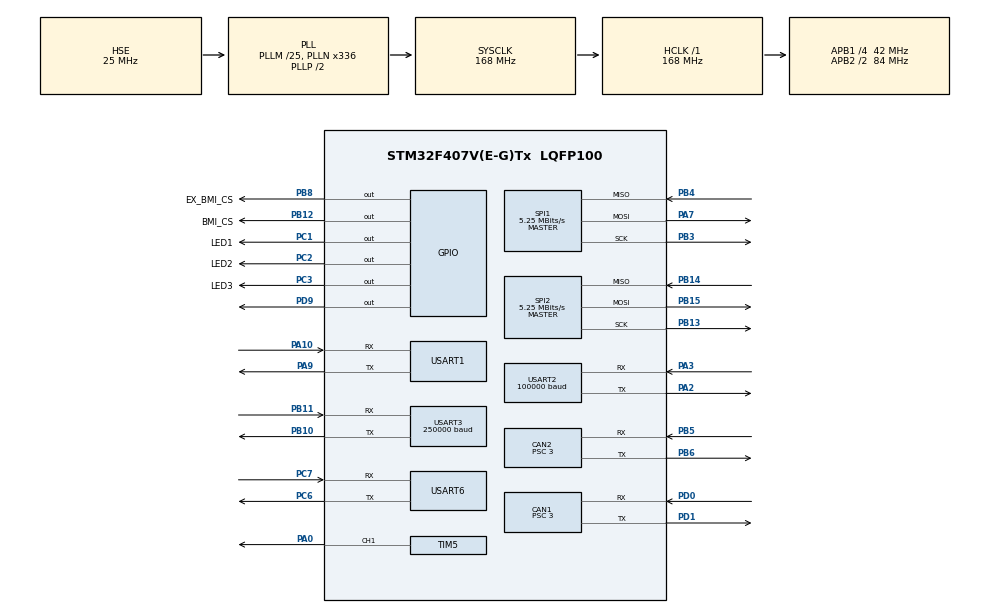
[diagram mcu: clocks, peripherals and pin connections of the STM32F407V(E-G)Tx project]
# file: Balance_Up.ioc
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CAN1.ABOM=ENABLE
CAN1.AWUM=ENABLE
CAN1.BS1=CAN_BS1_9TQ
CAN1.BS2=CAN_BS2_4TQ
CAN1.CalculateBaudRate=1000000
CAN1.CalculateTimeBit=1000
CAN1.CalculateTimeQuantum=71.42857142857143
CAN1.Prescaler=3
CAN1.TTCM=DISABLE
CAN1.TXFP=ENABLE
CAN2.ABOM=ENABLE
CAN2.AWUM=ENABLE
CAN2.BS1=CAN_BS1_9TQ
CAN2.BS2=CAN_BS2_4TQ
CAN2.CalculateBaudRate=1000000
CAN2.CalculateTimeBit=1000
CAN2.CalculateTimeQuantum=71.42857142857143
CAN2.Prescaler=3
CAN2.TXFP=ENABLE
Dma.Request0=USART1_RX
Dma.Request1=USART1_TX
Dma.Request2=USART2_RX
Dma.Request3=USART3_RX
Dma.Request4=USART3_TX
Dma.Request5=USART6_RX
Dma.Request6=USART6_TX
Dma.USART1_RX.0.Direction=DMA_PERIPH_TO_MEMORY
Dma.USART1_RX.0.FIFOMode=DMA_FIFOMODE_DISABLE
Dma.USART1_RX.0.Instance=DMA2_Stream2
Dma.USART1_RX.0.MemDataAlignment=DMA_MDATAALIGN_BYTE
Dma.USART1_RX.0.MemInc=DMA_MINC_ENABLE
Dma.USART1_RX.0.Mode=DMA_CIRCULAR
Dma.USART1_RX.0.PeriphDataAlignment=DMA_PDATAALIGN_BYTE
Dma.USART1_RX.0.PeriphInc=DMA_PINC_DISABLE
Dma.USART1_RX.0.Priority=DMA_PRIORITY_LOW
Dma.USART1_TX.1.Direction=DMA_MEMORY_TO_PERIPH
Dma.USART1_TX.1.FIFOMode=DMA_FIFOMODE_DISABLE
Dma.USART1_TX.1.Instance=DMA2_Stream7
Dma.USART1_TX.1.MemDataAlignment=DMA_MDATAALIGN_BYTE
Dma.USART1_TX.1.MemInc=DMA_MINC_ENABLE
Dma.USART1_TX.1.Mode=DMA_NORMAL
Dma.USART1_TX.1.PeriphDataAlignment=DMA_PDATAALIGN_BYTE
Dma.USART1_TX.1.PeriphInc=DMA_PINC_DISABLE
Dma.USART1_TX.1.Priority=DMA_PRIORITY_LOW
Dma.USART2_RX.2.Direction=DMA_PERIPH_TO_MEMORY
Dma.USART2_RX.2.FIFOMode=DMA_FIFOMODE_DISABLE
Dma.USART2_RX.2.Instance=DMA1_Stream5
Dma.USART2_RX.2.MemDataAlignment=DMA_MDATAALIGN_BYTE
Dma.USART2_RX.2.MemInc=DMA_MINC_ENABLE
Dma.USART2_RX.2.Mode=DMA_CIRCULAR
Dma.USART2_RX.2.PeriphDataAlignment=DMA_PDATAALIGN_BYTE
Dma.USART2_RX.2.PeriphInc=DMA_PINC_DISABLE
Dma.USART2_RX.2.Priority=DMA_PRIORITY_LOW
Dma.USART3_RX.3.Direction=DMA_PERIPH_TO_MEMORY
Dma.USART3_RX.3.FIFOMode=DMA_FIFOMODE_DISABLE
Dma.USART3_RX.3.Instance=DMA1_Stream1
Dma.USART3_RX.3.MemDataAlignment=DMA_MDATAALIGN_BYTE
Dma.USART3_RX.3.MemInc=DMA_MINC_ENABLE
Dma.USART3_RX.3.Mode=DMA_CIRCULAR
Dma.USART3_RX.3.PeriphDataAlignment=DMA_PDATAALIGN_BYTE
Dma.USART3_RX.3.PeriphInc=DMA_PINC_DISABLE
Dma.USART3_RX.3.Priority=DMA_PRIORITY_LOW
Dma.USART3_TX.4.Direction=DMA_MEMORY_TO_PERIPH
Dma.USART3_TX.4.FIFOMode=DMA_FIFOMODE_DISABLE
Dma.USART3_TX.4.Instance=DMA1_Stream3
Dma.USART3_TX.4.MemDataAlignment=DMA_MDATAALIGN_BYTE
Dma.USART3_TX.4.MemInc=DMA_MINC_ENABLE
Dma.USART3_TX.4.Mode=DMA_NORMAL
Dma.USART3_TX.4.PeriphDataAlignment=DMA_PDATAALIGN_BYTE
Dma.USART3_TX.4.PeriphInc=DMA_PINC_DISABLE
Dma.USART3_TX.4.Priority=DMA_PRIORITY_LOW
Dma.USART6_RX.5.Direction=DMA_PERIPH_TO_MEMORY
Dma.USART6_RX.5.FIFOMode=DMA_FIFOMODE_DISABLE
Dma.USART6_RX.5.Instance=DMA2_Stream1
Dma.USART6_RX.5.MemDataAlignment=DMA_MDATAALIGN_BYTE
Dma.USART6_RX.5.MemInc=DMA_MINC_ENABLE
Dma.USART6_RX.5.Mode=DMA_CIRCULAR
Dma.USART6_RX.5.PeriphDataAlignment=DMA_PDATAALIGN_BYTE
Dma.USART6_RX.5.PeriphInc=DMA_PINC_DISABLE
Dma.USART6_RX.5.Priority=DMA_PRIORITY_LOW
Dma.USART6_TX.6.Direction=DMA_MEMORY_TO_PERIPH
Dma.USART6_TX.6.FIFOMode=DMA_FIFOMODE_DISABLE
Dma.USART6_TX.6.Instance=DMA2_Stream6
Dma.USART6_TX.6.MemDataAlignment=DMA_MDATAALIGN_BYTE
Dma.USART6_TX.6.MemInc=DMA_MINC_ENABLE
Dma.USART6_TX.6.Mode=DMA_CIRCULAR
Dma.USART6_TX.6.PeriphDataAlignment=DMA_PDATAALIGN_BYTE
Dma.USART6_TX.6.PeriphInc=DMA_PINC_DISABLE
Dma.USART6_TX.6.Priority=DMA_PRIORITY_LOW
FREERTOS.Tasks01=defaultTask,0,128,StartDefaultTask,Default,NULL,Dynamic,NULL,NULL;heartbeatTask,1,128,StartHeartBeatTask,As weak,NULL,Dynamic,NULL,NULL;controlTask,2,256,StartControlTask,As weak,NULL,Dynamic,NULL,NULL;ledTask,0,128,StartLedTask,As weak,NULL,Dynamic,NULL,NULL
Mcu.Family=STM32F4
Mcu.Name=STM32F407V(E-G)Tx
Mcu.Package=LQFP100
NVIC.CAN1_RX0_IRQn=true\:5\:0\:false\:false\:true\:true\:true\:true\:true
NVIC.CAN2_RX0_IRQn=true\:5\:0\:false\:false\:true\:true\:true\:true\:true
NVIC.DMA1_Stream1_IRQn=true\:5\:0\:false\:false\:true\:true\:false\:true\:true
NVIC.DMA1_Stream3_IRQn=true\:5\:0\:false\:false\:true\:true\:false\:true\:true
NVIC.DMA1_Stream5_IRQn=true\:5\:0\:false\:false\:true\:true\:false\:true\:true
NVIC.DMA2_Stream1_IRQn=true\:5\:0\:false\:false\:true\:true\:false\:true\:true
NVIC.DMA2_Stream2_IRQn=true\:5\:0\:false\:false\:true\:true\:false\:true\:true
NVIC.DMA2_Stream6_IRQn=true\:5\:0\:false\:false\:true\:true\:false\:true\:true
NVIC.DMA2_Stream7_IRQn=true\:5\:0\:false\:false\:true\:true\:false\:true\:true
NVIC.PriorityGroup=NVIC_PRIORITYGROUP_4
NVIC.SPI2_IRQn=true\:5\:0\:false\:false\:true\:true\:true\:true\:true
NVIC.TIM2_IRQn=true\:15\:0\:false\:false\:true\:false\:false\:true\:true
NVIC.TIM4_IRQn=true\:5\:0\:false\:false\:true\:true\:true\:true\:true
NVIC.TimeBase=TIM2_IRQn
NVIC.TimeBaseIP=TIM2
NVIC.USART1_IRQn=true\:5\:0\:false\:false\:true\:true\:true\:true\:true
NVIC.USART2_IRQn=true\:5\:0\:false\:false\:true\:true\:true\:true\:true
NVIC.USART3_IRQn=true\:5\:0\:false\:false\:true\:true\:true\:true\:true
NVIC.USART6_IRQn=true\:5\:0\:false\:false\:true\:true\:true\:true\:true
PA0-WKUP.Signal=S_TIM5_CH1
PA10.Mode=Asynchronous
PA10.Signal=USART1_RX
PA13.Mode=Serial_Wire
PA13.Signal=SYS_JTMS-SWDIO
PA14.Mode=Serial_Wire
PA14.Signal=SYS_JTCK-SWCLK
PA2.Mode=Asynchronous
PA2.Signal=USART2_TX
PA3.Mode=Asynchronous
PA3.Signal=USART2_RX
PA7.Mode=Full_Duplex_Master
PA7.Signal=SPI1_MOSI
PA9.Mode=Asynchronous
PA9.Signal=USART1_TX
PB10.Mode=Asynchronous
PB10.Signal=USART3_TX
PB11.Mode=Asynchronous
PB11.Signal=USART3_RX
PB12.GPIO_Label=BMI_CS
PB12.GPIO_PuPd=GPIO_NOPULL
PB12.GPIO_Speed=GPIO_SPEED_FREQ_HIGH
PB12.PinState=GPIO_PIN_RESET
PB12.Signal=GPIO_Output
PB13.Mode=Full_Duplex_Master
PB13.Signal=SPI2_SCK
PB14.Mode=Full_Duplex_Master
PB14.Signal=SPI2_MISO
PB15.Mode=Full_Duplex_Master
PB15.Signal=SPI2_MOSI
PB3.Mode=Full_Duplex_Master
PB3.Signal=SPI1_SCK
PB4.Mode=Full_Duplex_Master
PB4.Signal=SPI1_MISO
PB5.Mode=CAN_Activate
PB5.Signal=CAN2_RX
PB6.Mode=CAN_Activate
PB6.Signal=CAN2_TX
PB8.GPIO_Label=EX_BMI_CS
PB8.GPIO_Speed=GPIO_SPEED_FREQ_HIGH
PB8.Signal=GPIO_Output
PC1.GPIO_Label=LED1
PC1.PinState=GPIO_PIN_SET
PC1.Signal=GPIO_Output
PC2.GPIO_Label=LED2
PC2.PinState=GPIO_PIN_SET
PC2.Signal=GPIO_Output
PC3.GPIO_Label=LED3
PC3.PinState=GPIO_PIN_SET
PC3.Signal=GPIO_Output
PC6.Mode=Asynchronous
PC6.Signal=USART6_TX
PC7.Mode=Asynchronous
PC7.Signal=USART6_RX
PD0.Mode=CAN_Activate
PD0.Signal=CAN1_RX
PD1.Mode=CAN_Activate
PD1.Signal=CAN1_TX
PD9.PinState=GPIO_PIN_SET
PD9.Signal=GPIO_Output
PH0-OSC_IN.Mode=HSE-External-Oscillator
PH0-OSC_IN.Signal=RCC_OSC_IN
PH1-OSC_OUT.Mode=HSE-External-Oscillator
PH1-OSC_OUT.Signal=RCC_OSC_OUT
ProjectManager.HeapSize=0x200
ProjectManager.StackSize=0x400
ProjectManager.TargetToolchain=MDK-ARM V5.32
RCC.48MHZClocksFreq_Value=84000000
RCC.AHBFreq_Value=168000000
RCC.APB1CLKDivider=RCC_HCLK_DIV4
RCC.APB1Freq_Value=42000000
RCC.APB1TimFreq_Value=84000000
RCC.APB2CLKDivider=RCC_HCLK_DIV2
RCC.APB2Freq_Value=84000000
RCC.APB2TimFreq_Value=168000000
RCC.CortexFreq_Value=168000000
RCC.HCLKFreq_Value=168000000
RCC.HSE_VALUE=25000000
RCC.HSI_VALUE=16000000
RCC.LSE_VALUE=32768
RCC.PLLM=25
RCC.PLLN=336
RCC.PLLSourceVirtual=RCC_PLLSOURCE_HSE
RCC.SYSCLKFreq_VALUE=168000000
RCC.SYSCLKSource=RCC_SYSCLKSOURCE_PLLCLK
RCC.VCOOutputFreq_Value=336000000
SH.S_TIM5_CH1.0=TIM5_CH1,PWM Generation1 CH1
SPI1.BaudRatePrescaler=SPI_BAUDRATEPRESCALER_16
SPI1.CalculateBaudRate=5.25 MBits/s
SPI1.Direction=SPI_DIRECTION_2LINES
SPI1.Mode=SPI_MODE_MASTER
SPI1.VirtualType=VM_MASTER
SPI2.BaudRatePrescaler=SPI_BAUDRATEPRESCALER_8
SPI2.CalculateBaudRate=5.25 MBits/s
SPI2.Direction=SPI_DIRECTION_2LINES
SPI2.Mode=SPI_MODE_MASTER
SPI2.VirtualType=VM_MASTER
TIM4.Period=499
TIM4.Prescaler=83
TIM5.AutoReloadPreload=TIM_AUTORELOAD_PRELOAD_ENABLE
TIM5.Channel-PWM\ Generation1\ CH1=TIM_CHANNEL_1
TIM5.Period=999
TIM5.Prescaler=1679
USART1.VirtualMode=VM_ASYNC
USART2.BaudRate=100000
USART2.Mode=MODE_RX
USART2.Parity=PARITY_EVEN
USART2.VirtualMode=VM_ASYNC
USART3.BaudRate=250000
USART3.VirtualMode=VM_ASYNC
USART6.VirtualMode=VM_ASYNC
VP_FREERTOS_VS_CMSIS_V1.Mode=CMSIS_V1
VP_IWDG_VS_IWDG.Mode=IWDG_Activate
VP_SYS_VS_tim2.Mode=TIM2
VP_TIM4_VS_ClockSourceINT.Mode=Internal
VP_TIM5_VS_ClockSourceINT.Mode=Internal
board=custom

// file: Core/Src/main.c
/* USER CODE BEGIN Header */
/**
  ******************************************************************************
  * @file           : main.c
  * @brief          : Main program body
  ******************************************************************************
  * @attention
  *
  * Copyright (c) 2022 STMicroelectronics.
  * All rights reserved.
  *
  * This software is licensed under terms that can be found in the LICENSE file
  * in the root directory of this software component.
  * If no LICENSE file comes with this software, it is provided AS-IS.
  *
  ******************************************************************************
  */
/* USER CODE END Header */
#include "main.h"
#include "cmsis_os.h"
#include "can.h"
#include "dma.h"
#include "iwdg.h"
#include "spi.h"
#include "tim.h"
#include "usart.h"
#include "gpio.h"

/* USER CODE BEGIN Includes */
#include "driver.h"
#include "device.h"
/* USER CODE END Includes */

void SystemClock_Config(void);
void MX_FREERTOS_Init(void);

int main(void)
{

  /* MCU Configuration--------------------------------------------------------*/

  /* Reset of all peripherals, Initializes the Flash interface and the Systick. */
  HAL_Init();

  /* Configure the system clock */
  SystemClock_Config();

  /* Initialize all configured peripherals */
  MX_GPIO_Init();
  MX_DMA_Init();
  MX_CAN1_Init();
  MX_CAN2_Init();
  MX_USART1_UART_Init();
  MX_USART2_UART_Init();
  MX_USART3_UART_Init();
  MX_SPI2_Init();
  MX_TIM4_Init();
  MX_SPI1_Init();
  MX_USART6_UART_Init();
  MX_TIM5_Init();
  /* USER CODE BEGIN 2 */
	HAL_GPIO_WritePin(GPIOC, GPIO_PIN_1, GPIO_PIN_RESET);
	HAL_GPIO_WritePin(GPIOC, GPIO_PIN_2, GPIO_PIN_SET);
	HAL_GPIO_WritePin(GPIOC, GPIO_PIN_3, GPIO_PIN_RESET);

	SPI1_Init();
	SPI2_Init();
	imu_sensor.init(&imu_sensor);
	HAL_Delay(10);

	DRIVER_Init();
	DEVICE_Init();

#if defined	(DEBUG_MODE) && (DEBUG_MODE == 0)
  MX_IWDG_Init();
#endif
  /* USER CODE END 2 */

  /* Call init function for freertos objects (in freertos.c) */
  MX_FREERTOS_Init();

  /* Start scheduler */
  osKernelStart();

  /* We should never get here as control is now taken by the scheduler */
  /* Infinite loop */
  while (1)
  {

  }
}

void SystemClock_Config(void)
{
  RCC_OscInitTypeDef RCC_OscInitStruct = {0};
  RCC_ClkInitTypeDef RCC_ClkInitStruct = {0};

  /** Configure the main internal regulator output voltage
  */
  __HAL_RCC_PWR_CLK_ENABLE();
  __HAL_PWR_VOLTAGESCALING_CONFIG(PWR_REGULATOR_VOLTAGE_SCALE1);

  /** Initializes the RCC Oscillators according to the specified parameters
  * in the RCC_OscInitTypeDef structure.
  */
  RCC_OscInitStruct.OscillatorType = RCC_OSCILLATORTYPE_LSI|RCC_OSCILLATORTYPE_HSE;
  RCC_OscInitStruct.HSEState = RCC_HSE_ON;
  RCC_OscInitStruct.LSIState = RCC_LSI_ON;
  RCC_OscInitStruct.PLL.PLLState = RCC_PLL_ON;
  RCC_OscInitStruct.PLL.PLLSource = RCC_PLLSOURCE_HSE;
  RCC_OscInitStruct.PLL.PLLM = 25;
  RCC_OscInitStruct.PLL.PLLN = 336;
  RCC_OscInitStruct.PLL.PLLP = RCC_PLLP_DIV2;
  RCC_OscInitStruct.PLL.PLLQ = 4;
  if (HAL_RCC_OscConfig(&RCC_OscInitStruct) != HAL_OK)
  {
    Error_Handler();
  }

  /** Initializes the CPU, AHB and APB buses clocks
  */
  RCC_ClkInitStruct.ClockType = RCC_CLOCKTYPE_HCLK|RCC_CLOCKTYPE_SYSCLK
                              |RCC_CLOCKTYPE_PCLK1|RCC_CLOCKTYPE_PCLK2;
  RCC_ClkInitStruct.SYSCLKSource = RCC_SYSCLKSOURCE_PLLCLK;
  RCC_ClkInitStruct.AHBCLKDivider = RCC_SYSCLK_DIV1;
  RCC_ClkInitStruct.APB1CLKDivider = RCC_HCLK_DIV4;
  RCC_ClkInitStruct.APB2CLKDivider = RCC_HCLK_DIV2;

  if (HAL_RCC_ClockConfig(&RCC_ClkInitStruct, FLASH_LATENCY_5) != HAL_OK)
  {
    Error_Handler();
  }
}

void HAL_TIM_PeriodElapsedCallback(TIM_HandleTypeDef *htim)
{
  /* USER CODE BEGIN Callback 0 */
	static uint16_t i = 0;
	if (htim->Instance == TIM4)
	{
		//500us
		if (i++ == 60000)
		{
			i = 0;
		}

		if ((imu_sensor.work_state.err_code == IMU_NONE_ERR) || \
				(imu_sensor.work_state.err_code == IMU_DATA_CALI))
		{
			imu_sensor.update(&imu_sensor);
		}

	}

  /* USER CODE END Callback 0 */
  if (htim->Instance == TIM2) {
    HAL_IncTick();
  }
}

void Error_Handler(void)
{
  __disable_irq();
  while (1)
  {
  }
}

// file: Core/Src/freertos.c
/* USER CODE BEGIN Header */
/**
  ******************************************************************************
  * File Name          : freertos.c
  * Description        : Code for freertos applications
  ******************************************************************************
  * @attention
  *
  * Copyright (c) 2022 STMicroelectronics.
  * All rights reserved.
  *
  * This software is licensed under terms that can be found in the LICENSE file
  * in the root directory of this software component.
  * If no LICENSE file comes with this software, it is provided AS-IS.
  *
  ******************************************************************************
  */
/* USER CODE END Header */

#include "FreeRTOS.h"
#include "task.h"
#include "main.h"
#include "cmsis_os.h"

osThreadId defaultTaskHandle;
osThreadId heartbeatTaskHandle;
osThreadId controlTaskHandle;
osThreadId ledTaskHandle;

void StartDefaultTask(void const * argument);
void StartHeartBeatTask(void const * argument);
void StartControlTask(void const * argument);
void StartLedTask(void const * argument);

void MX_FREERTOS_Init(void); /* (MISRA C 2004 rule 8.1) */

/* GetIdleTaskMemory prototype (linked to static allocation support) */
void vApplicationGetIdleTaskMemory( StaticTask_t **ppxIdleTaskTCBBuffer, StackType_t **ppxIdleTaskStackBuffer, uint32_t *pulIdleTaskStackSize );

/* USER CODE BEGIN GET_IDLE_TASK_MEMORY */
static StaticTask_t xIdleTaskTCBBuffer;
static StackType_t xIdleStack[configMINIMAL_STACK_SIZE];

void vApplicationGetIdleTaskMemory( StaticTask_t **ppxIdleTaskTCBBuffer, StackType_t **ppxIdleTaskStackBuffer, uint32_t *pulIdleTaskStackSize )
{
  *ppxIdleTaskTCBBuffer = &xIdleTaskTCBBuffer;
  *ppxIdleTaskStackBuffer = &xIdleStack[0];
  *pulIdleTaskStackSize = configMINIMAL_STACK_SIZE;
  /* place for user code */
}
/* USER CODE END GET_IDLE_TASK_MEMORY */

void MX_FREERTOS_Init(void) {

  /* Create the thread(s) */
  /* definition and creation of defaultTask */
  osThreadDef(defaultTask, StartDefaultTask, osPriorityNormal, 0, 128);
  defaultTaskHandle = osThreadCreate(osThread(defaultTask), NULL);

  /* definition and creation of heartbeatTask */
  osThreadDef(heartbeatTask, StartHeartBeatTask, osPriorityAboveNormal, 0, 128);
  heartbeatTaskHandle = osThreadCreate(osThread(heartbeatTask), NULL);

  /* definition and creation of controlTask */
  osThreadDef(controlTask, StartControlTask, osPriorityHigh, 0, 256);
  controlTaskHandle = osThreadCreate(osThread(controlTask), NULL);

  /* definition and creation of ledTask */
  osThreadDef(ledTask, StartLedTask, osPriorityNormal, 0, 128);
  ledTaskHandle = osThreadCreate(osThread(ledTask), NULL);

}

void StartDefaultTask(void const * argument)
{
  for(;;)
  {
    osDelay(1);
  }
}

__weak void StartHeartBeatTask(void const * argument)
{
  for(;;)
  {
    osDelay(1);
  }
}

__weak void StartControlTask(void const * argument)
{
  for(;;)
  {
    osDelay(1);
  }
}

__weak void StartLedTask(void const * argument)
{
  for(;;)
  {
    osDelay(1);
  }
}
